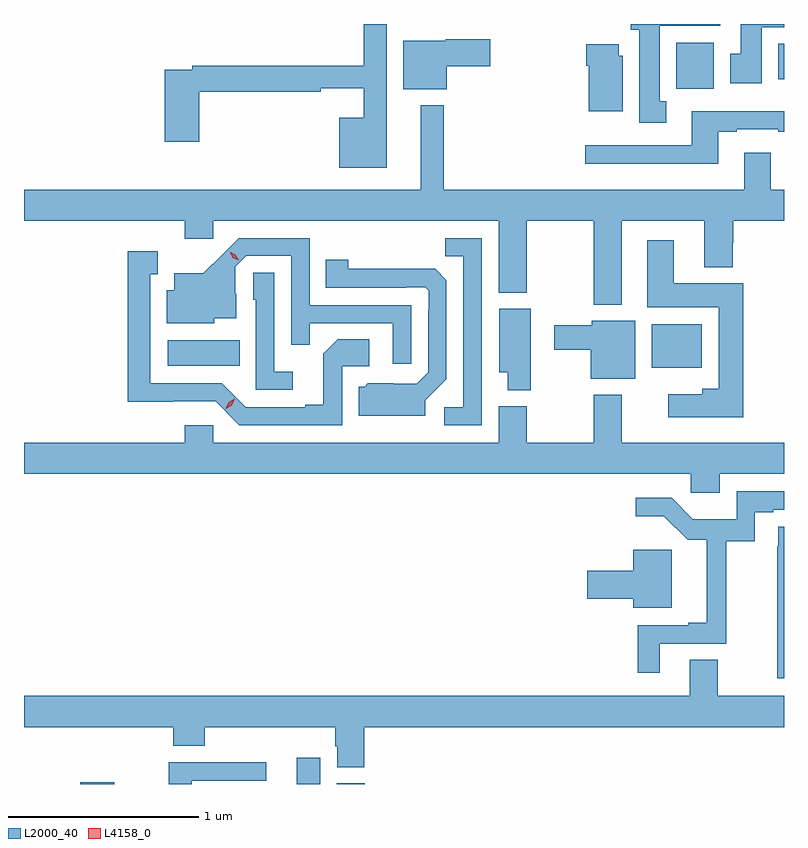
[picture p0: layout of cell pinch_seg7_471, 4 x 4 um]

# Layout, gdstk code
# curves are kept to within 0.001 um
import gdstk
lib = gdstk.Library(unit=1e-6, precision=1e-09)
def R(c, l, rs):  # rectangles x0, y0, x1, y1
    for r in rs: c.add(gdstk.rectangle(r[:2], r[2:], *l))
def P(c, l, *ps):  # polygons
    for p in ps: c.add(gdstk.Polygon(p, *l))
L2000_40 = (2000, 40)
L4158_0 = (4158, 0)

pinch_seg7_471 = lib.new_cell('pinch_seg7_471')
R(pinch_seg7_471, L2000_40, [(179.54,1062.92,179.718,1062.928), (180.68,1062.92,180.802,1063.057), (180.89,1062.92,181.037,1062.924), (182.549,1065.11,182.812,1065.34), (180,1065.122,180.38,1065.256), (182.678,1066.58,182.875,1066.822), (183.215,1066.628,183.244,1066.816)])
P(pinch_seg7_471, L2000_40, [(182.623,1066.514),(182.59,1066.514),(182.59,1066.91),(182.908,1066.91),(182.908,1066.92),(182.438,1066.92),(182.438,1066.89),(182.483,1066.89),(182.483,1066.401),(182.623,1066.401)],
  [(183.127,1066.904),(183.244,1066.904),(183.244,1066.92),(183.017,1066.92),(183.017,1066.764),(182.96,1066.764),(182.96,1066.608),(183.127,1066.608)],
  [(181.153,1066.92),(181.032,1066.92),(181.032,1066.7),(180.13,1066.7),(180.13,1066.68),(179.984,1066.68),(179.984,1066.299),(180.167,1066.299),(180.167,1066.564),(180.806,1066.564),(180.806,1066.583),(181.032,1066.583),(181.032,1066.426),(180.902,1066.426),(180.902,1066.163),(181.153,1066.163)],
  [(181.468,1066.697),(181.699,1066.697),(181.699,1066.839),(181.464,1066.839),(181.464,1066.831),(181.241,1066.831),(181.241,1066.577),(181.468,1066.577)],
  [(182.395,1066.752),(182.374,1066.752),(182.374,1066.813),(182.204,1066.813),(182.204,1066.7),(182.216,1066.7),(182.216,1066.46),(182.395,1066.46)],
  [(179.244,1065.884),(180.089,1065.884),(180.089,1065.789),(180.24,1065.789),(180.24,1065.884),(181.742,1065.884),(181.742,1065.506),(181.89,1065.506),(181.89,1065.884),(182.242,1065.884),(182.242,1065.443),(182.389,1065.443),(182.389,1065.884),(182.825,1065.884),(182.825,1065.641),(182.973,1065.641),(182.973,1065.768),(182.978,1065.768),(182.978,1065.884),(183.244,1065.884),(183.244,1066.048),(183.175,1066.048),(183.175,1066.243),(183.035,1066.243),(183.035,1066.048),(181.453,1066.048),(181.453,1066.492),(181.331,1066.492),(181.331,1066.048),(179.244,1066.048)],
  [(182.899,1066.353),(182.995,1066.353),(182.995,1066.365),(183.215,1066.365),(183.215,1066.353),(183.244,1066.353),(183.244,1066.462),(182.759,1066.462),(182.759,1066.281),(182.199,1066.281),(182.199,1066.184),(182.899,1066.184)],
  [(181.653,1065.792),(181.462,1065.792),(181.462,1065.697),(181.557,1065.697),(181.557,1064.904),(181.455,1064.904),(181.455,1064.808),(181.653,1064.808)],
  [(181.281,1065.441),(180.747,1065.441),(180.747,1065.792),(180.374,1065.792),(180.187,1065.607),(180.035,1065.607),(180.035,1065.52),(179.996,1065.52),(179.996,1065.344),(180.246,1065.344),(180.246,1065.371),(180.361,1065.371),(180.361,1065.5),(180.357,1065.5),(180.357,1065.642),(180.414,1065.699),(180.651,1065.699),(180.651,1065.232),(180.749,1065.232),(180.749,1065.345),(181.185,1065.345),(181.185,1065.132),(181.281,1065.132)],
  [(183.03,1065.556),(182.665,1065.556),(182.665,1065.781),(182.525,1065.781),(182.525,1065.428),(182.9,1065.428),(182.9,1065.001),(182.813,1065.001),(182.813,1064.971),(182.634,1064.971),(182.634,1064.849),(183.03,1064.849)],
  [(180.918,1065.12),(181.06,1065.12),(181.06,1065.26),(180.895,1065.26),(180.819,1065.184),(180.819,1064.917),(180.725,1064.917),(180.725,1064.904),(180.411,1064.904),(180.285,1065.03),(179.908,1065.03),(179.908,1065.603),(179.947,1065.603),(179.947,1065.724),(179.79,1065.724),(179.79,1064.933),(180.252,1064.934),(180.378,1064.808),(180.918,1064.808)],
  [(181.357,1064.94),(181.467,1065.05),(181.467,1065.572),(181.408,1065.631),(180.951,1065.632),(180.951,1065.679),(180.832,1065.679),(180.832,1065.531),(181.256,1065.531),(181.256,1065.534),(181.356,1065.534),(181.374,1065.516),(181.374,1065.416),(181.371,1065.416),(181.371,1065.087),(181.311,1065.027),(181.054,1065.028),(181.038,1065.012),(181.007,1065.012),(181.007,1064.858),(181.357,1064.858)],
  [(180.658,1065.091),(180.561,1065.091),(180.561,1065.611),(180.45,1065.611),(180.45,1065.468),(180.465,1065.468),(180.465,1064.994),(180.658,1064.994)],
  [(181.912,1065.421),(181.745,1065.421),(181.745,1065.086),(181.79,1065.086),(181.79,1064.993),(181.912,1064.993)],
  [(182.461,1065.358),(182.232,1065.358),(182.232,1065.334),(182.034,1065.334),(182.034,1065.205),(182.228,1065.205),(182.228,1065.053),(182.461,1065.053)],
  [(182.905,1064.552),(183.244,1064.552),(183.244,1064.716),(182.389,1064.716),(182.389,1064.968),(182.242,1064.968),(182.242,1064.716),(181.89,1064.716),(181.89,1064.908),(181.742,1064.908),(181.742,1064.716),(180.24,1064.716),(180.24,1064.809),(180.089,1064.809),(180.089,1064.716),(179.244,1064.716),(179.244,1064.552),(182.754,1064.552),(182.754,1064.454),(182.905,1064.454)],
  [(182.59,1063.659),(182.939,1063.659),(182.939,1064.197),(183.09,1064.197),(183.09,1064.35),(183.187,1064.35),(183.187,1064.364),(183.244,1064.364),(183.244,1064.46),(182.994,1064.46),(182.994,1064.314),(182.765,1064.314),(182.652,1064.427),(182.463,1064.427),(182.463,1064.33),(182.611,1064.33),(182.737,1064.205),(182.837,1064.205),(182.837,1063.768),(182.741,1063.768),(182.741,1063.755),(182.473,1063.755),(182.473,1063.506),(182.59,1063.506)],
  [(183.244,1064.273),(183.214,1064.273),(183.214,1064.171),(183.208,1064.171),(183.208,1063.476),(183.244,1063.476)],
  [(182.653,1064.152),(182.45,1064.152),(182.45,1064.042),(182.208,1064.042),(182.208,1063.895),(182.45,1063.895),(182.45,1063.847),(182.653,1063.847)],
  [(181.034,1063.22),(183.244,1063.22),(183.244,1063.384),(182.895,1063.384),(182.895,1063.574),(182.747,1063.574),(182.747,1063.384),(179.244,1063.384),(179.244,1063.22),(180.029,1063.22),(180.029,1063.121),(180.194,1063.121),(180.194,1063.22),(180.881,1063.22),(180.881,1063.119),(180.893,1063.119),(180.893,1063.009),(181.034,1063.009)],
  [(180.127,1062.936),(180.52,1062.936),(180.52,1063.034),(180.007,1063.034),(180.007,1062.92),(180.127,1062.92)])
P(pinch_seg7_471, L4158_0, [(180.374,1065.676),(180.343,1065.691),(180.326,1065.721),(180.326,1065.721),(180.327,1065.721),(180.357,1065.706),(180.374,1065.676),(180.374,1065.676)],
  [(180.305,1064.895),(180.305,1064.895),(180.322,1064.928),(180.354,1064.947),(180.354,1064.947),(180.354,1064.947),(180.337,1064.914),(180.306,1064.895)])

lib.write_gds('pinch_seg7_471.gds')
